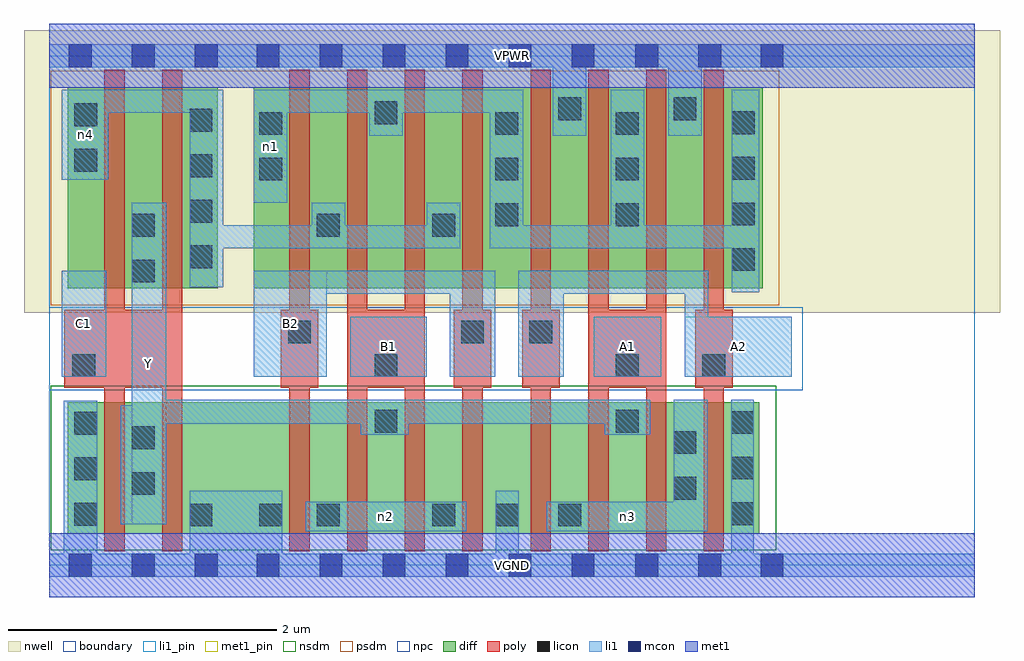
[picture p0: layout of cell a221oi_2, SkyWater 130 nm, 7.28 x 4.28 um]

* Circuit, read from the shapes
.subckt a221oi_2 A1 A2 B1 B2 C1 VGND VPWR Y n1 n2 n3 n4
XM1 Y C1 VGND VSUBS sky130_fd_pr__nfet_01v8 w=0.98 l=0.15 m=2
XM2 n2 B2 VGND VSUBS sky130_fd_pr__nfet_01v8 w=0.98 l=0.15 m=2
XM3 Y B1 n2 VSUBS sky130_fd_pr__nfet_01v8 w=0.98 l=0.15 m=2
XM4 n3 A2 VGND VSUBS sky130_fd_pr__nfet_01v8 w=0.98 l=0.15 m=2
XM5 Y A1 n3 VSUBS sky130_fd_pr__nfet_01v8 w=0.98 l=0.15 m=2
XM6 Y C1 n4 n5 sky130_fd_pr__pfet_01v8 w=1.5 l=0.15 m=2
XM7 n4 B2 n1 n5 sky130_fd_pr__pfet_01v8 w=1.5 l=0.15 m=2
XM8 n1 B1 n4 n5 sky130_fd_pr__pfet_01v8 w=1.5 l=0.15 m=2
XM9 VPWR A2 n1 n5 sky130_fd_pr__pfet_01v8 w=1.5 l=0.15 m=2
XM10 n1 A1 VPWR n5 sky130_fd_pr__pfet_01v8 w=1.5 l=0.15 m=2
.ends

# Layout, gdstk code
import gdstk
lib = gdstk.Library(unit=1e-6, precision=1e-09)
def R(c, l, rs):  # rectangles x0, y0, x1, y1
    for r in rs: c.add(gdstk.rectangle(r[:2], r[2:], *l))
def A(c, l, x, y, w, h, nx, ny, dx, dy):  # array of equal rectangles
    R(c, l, [(x+i*dx, y+j*dy, x+i*dx+w, y+j*dy+h) for i in range(nx) for j in range(ny)])
nwell = (64, 20)
diff = (65, 20)
poly = (66, 20)
licon = (66, 44)
li1_pin = (67, 16)
li1 = (67, 20)
mcon = (67, 44)
met1_pin = (68, 16)
met1 = (68, 20)
nsdm = (93, 44)
psdm = (94, 20)
npc = (95, 20)
boundary = (235, 4)

a221oi_2 = lib.new_cell('a221oi_2')
R(a221oi_2, nwell, [(-0.19,1.885,7.09,3.99), (0,1.885,6.9,3.99)])
R(a221oi_2, diff, [(0.135,0.235,5.295,1.215), (0.135,2.065,1.255,3.565), (1.525,2.065,5.32,3.565)])
A(a221oi_2, poly, 1.79, 0.105, 0.15, 3.59, 4, 1, 0.43, 0)
A(a221oi_2, poly, 3.59, 0.105, 0.15, 3.59, 4, 1, 0.43, 0)
R(a221oi_2, poly, [(0.41,0.105,0.56,3.695), (0.84,0.105,0.99,3.695), (0.11,1.325,0.99,1.905), (1.725,1.325,2.005,1.905), (2.22,1.325,2.8,1.905), (3.015,1.325,3.295,1.905), (3.525,1.325,3.805,1.905), (4.02,1.325,4.6,1.905), (4.815,1.325,5.095,1.905)])
A(a221oi_2, licon, 0.185, 0.295, 0.17, 0.17, 1, 3, 0, 0.34)
A(a221oi_2, licon, 5.085, 0.3, 0.17, 0.17, 1, 3, 0, 0.34)
A(a221oi_2, licon, 5.09, 2.195, 0.17, 0.17, 1, 4, 0, 0.34)
A(a221oi_2, licon, 1.045, 2.215, 0.17, 0.17, 1, 4, 0, 0.34)
A(a221oi_2, licon, 3.325, 2.53, 0.17, 0.17, 1, 3, 0, 0.34)
A(a221oi_2, licon, 4.225, 2.53, 0.17, 0.17, 1, 3, 0, 0.34)
R(a221oi_2, licon, [(1.045,0.29,1.215,0.46), (1.565,0.29,1.735,0.46), (1.995,0.29,2.165,0.46), (2.855,0.29,3.025,0.46), (3.33,0.29,3.5,0.46), (3.795,0.29,3.965,0.46), (4.655,0.49,4.825,0.66), (0.615,0.525,0.785,0.695), (4.655,0.83,4.825,1), (0.615,0.865,0.785,1.035), (2.425,0.99,2.595,1.16), (4.225,0.99,4.395,1.16), (0.17,1.405,0.34,1.575), (2.425,1.405,2.595,1.575), (4.225,1.405,4.395,1.575), (4.87,1.405,5.04,1.575), (1.78,1.655,1.95,1.825), (3.07,1.655,3.24,1.825), (3.58,1.655,3.75,1.825), (0.615,2.11,0.785,2.28), (0.615,2.45,0.785,2.62), (1.995,2.45,2.165,2.62), (2.855,2.45,3.025,2.62), (1.565,2.87,1.735,3.04), (0.185,2.935,0.355,3.105), (1.565,3.21,1.735,3.38), (0.185,3.275,0.355,3.445), (2.425,3.29,2.595,3.46), (3.795,3.32,3.965,3.49), (4.655,3.32,4.825,3.49)])
R(a221oi_2, li1_pin, [(0.615,0.305,0.87,2.705), (0.09,1.405,0.425,2.195), (1.525,1.405,2.07,2.195), (2.245,1.405,2.815,1.855), (4.06,1.405,4.565,1.855), (4.74,1.405,5.535,1.855)])
R(a221oi_2, li1, [(0,-0.085,6.9,0.085), (0.105,-0.085,0.355,1.225), (1.045,-0.085,1.735,0.555), (3.33,-0.085,3.5,0.555), (5.085,-0.085,5.255,1.235), (1.91,0.255,3.11,0.475), (3.71,0.255,4.91,0.475), (4.655,0.255,4.91,1.235), (0.53,0.305,0.87,1.195), (0.615,0.305,0.87,2.705), (2.32,0.975,2.68,1.235), (4.14,0.975,4.48,1.235), (0.615,1.055,4.48,1.235), (0.09,1.405,0.425,2.195), (1.525,1.405,2.07,2.195), (2.245,1.405,2.815,1.855), (2.985,1.405,3.325,2.195), (3.495,1.405,3.835,2.195), (4.06,1.405,4.565,1.855), (4.74,1.405,5.535,1.855), (4.74,1.405,4.915,2.195), (1.525,2.025,3.325,2.195), (3.495,2.025,4.915,2.195), (5.09,2.035,5.295,3.545), (1.045,2.075,1.295,3.545), (1.045,2.365,3.065,2.535), (1.955,2.365,2.205,2.705), (2.815,2.365,3.065,2.705), (3.285,2.365,5.295,2.535), (3.285,2.365,3.535,3.545), (4.185,2.365,4.435,3.545), (1.525,2.705,1.775,3.545), (0.09,2.875,0.44,3.545), (2.385,3.205,2.635,3.545), (3.755,3.205,4.005,3.885), (4.615,3.205,4.865,3.885), (0.09,3.375,1.295,3.545), (1.525,3.375,3.535,3.545), (0,3.715,6.9,3.885)])
A(a221oi_2, mcon, 0.145, -0.085, 0.17, 0.17, 3, 2, 0.47, 3.8)
A(a221oi_2, mcon, 1.545, -0.085, 0.17, 0.17, 6, 2, 0.47, 3.8)
R(a221oi_2, mcon, [(4.37,-0.085,4.54,0.085), (4.84,-0.085,5.01,0.085), (5.305,-0.085,5.475,0.085), (4.37,3.715,4.54,3.885), (4.84,3.715,5.01,3.885), (5.305,3.715,5.475,3.885)])
R(a221oi_2, met1_pin, [(0,-0.24,6.9,0.24), (0,3.56,6.9,4.04)])
R(a221oi_2, met1, [(0,-0.24,6.9,0.24), (0,3.56,6.9,4.04)])
R(a221oi_2, nsdm, [(0.01,0.11,5.42,1.34)])
R(a221oi_2, psdm, [(0.01,1.94,5.445,3.69)])
R(a221oi_2, npc, [(0,1.305,5.62,1.925)])
R(a221oi_2, boundary, [(0,0,6.9,3.8)])
a221oi_2.add(gdstk.Label('A1', (4.312,1.63), layer=67, texttype=5))
a221oi_2.add(gdstk.Label('A2', (5.137,1.63), layer=67, texttype=5))
a221oi_2.add(gdstk.Label('B1', (2.53,1.63), layer=67, texttype=5))
a221oi_2.add(gdstk.Label('B2', (1.797,1.8), layer=67, texttype=5))
a221oi_2.add(gdstk.Label('C1', (0.257,1.8), layer=67, texttype=5))
a221oi_2.add(gdstk.Label('Y', (0.742,1.505), layer=67, texttype=5))
a221oi_2.add(gdstk.Label('n2', (2.51,0.365), layer=67, texttype=5))
a221oi_2.add(gdstk.Label('n3', (4.31,0.365), layer=67, texttype=5))
a221oi_2.add(gdstk.Label('n4', (0.265,3.21), layer=67, texttype=5))
a221oi_2.add(gdstk.Label('n1', (1.65,3.125), layer=67, texttype=5))
a221oi_2.add(gdstk.Label('VPWR', (3.45,3.8), layer=68, texttype=5))
a221oi_2.add(gdstk.Label('VGND', (3.45,0), layer=68, texttype=5))
a221oi_2.add(gdstk.Label('A1', (4.312,1.63), layer=67, texttype=16))
a221oi_2.add(gdstk.Label('A2', (5.137,1.63), layer=67, texttype=16))
a221oi_2.add(gdstk.Label('B1', (2.53,1.63), layer=67, texttype=16))
a221oi_2.add(gdstk.Label('B2', (1.797,1.8), layer=67, texttype=16))
a221oi_2.add(gdstk.Label('C1', (0.257,1.8), layer=67, texttype=16))
a221oi_2.add(gdstk.Label('Y', (0.742,1.505), layer=67, texttype=16))
a221oi_2.add(gdstk.Label('VPWR', (3.45,3.8), layer=68, texttype=16))
a221oi_2.add(gdstk.Label('VGND', (3.45,0), layer=68, texttype=16))

lib.write_gds('a221oi_2.gds')
